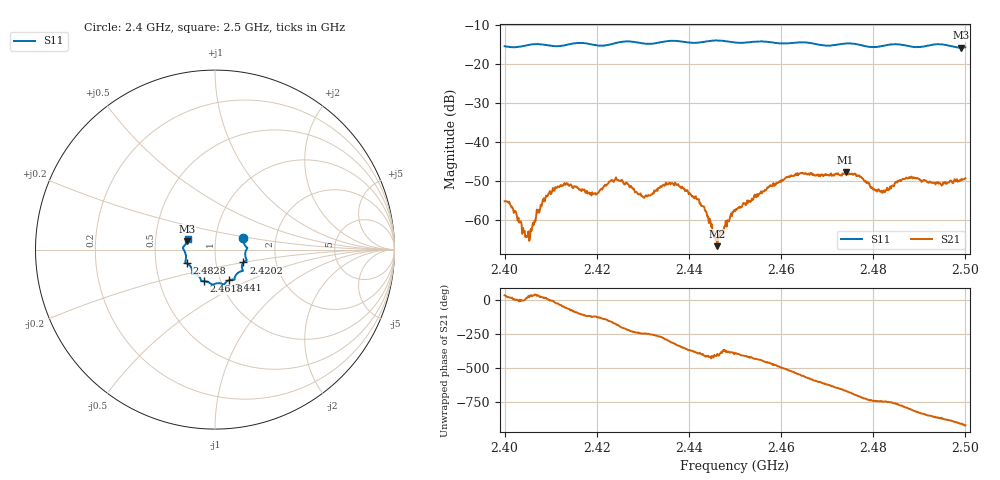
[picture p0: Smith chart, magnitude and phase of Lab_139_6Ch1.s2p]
# Hz S RI R 50
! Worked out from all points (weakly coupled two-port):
!   601 points, 2.4 GHz to 2.5 GHz, reference 50 ohm
!   highest |S21| = -47.78 dB at 2.474 GHz (marker M1); lowest = -66.7 dB at 2.4462 GHz (marker M2)
!   lowest |S11| = -15.8 dB at 2.499 GHz (marker M3), VSWR 1.39, Z = 36.4 + j3.53 ohm
!   |S11| at or under -10 dB: start of sweep to end of sweep
!   S12 and S22 are empty: the file has one direction only
!   S11 on the Smith chart (normalised r, x): 2.4 GHz: 1.36, +0.17; 2.4202 GHz: 1.36, -0.20; 2.441 GHz: 1.10, -0.39; 2.4618 GHz: 0.84, -0.30; 2.4828 GHz: 0.72, -0.11; 2.5 GHz: 0.73, +0.09
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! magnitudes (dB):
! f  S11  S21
! 2.4 GHz  -15.4  -55.2
! 2.405 GHz  -15.1  -64.2
! 2.41 GHz  -15.3  -53.4
! 2.4133 GHz  -15.1  -50.7
! 2.4167 GHz  -14.6  -52.6
! 2.4202 GHz  -15.2  -53.2
! 2.4243 GHz  -14.5  -49.7
! 2.4302 GHz  -14.7  -54.3
! 2.4333 GHz  -14.5  -51.8
! 2.4367 GHz  -14.0  -51.0
! 2.441 GHz  -14.6  -54.0
! 2.4433 GHz  -14.3  -56.7
! 2.4462 GHz  -13.9  -66.7
! 2.45 GHz  -14.4  -57.8
! 2.4618 GHz  -14.6  -49.1
! 2.4667 GHz  -14.6  -48.0
! 2.474 GHz  -14.7  -47.8
! 2.4828 GHz  -15.1  -52.4
! 2.4833 GHz  -15.0  -52.4
! 2.4878 GHz  -15.4  -49.0
! 2.499 GHz  -15.8  -49.8
! 2.5 GHz  -15.7  -49.3
